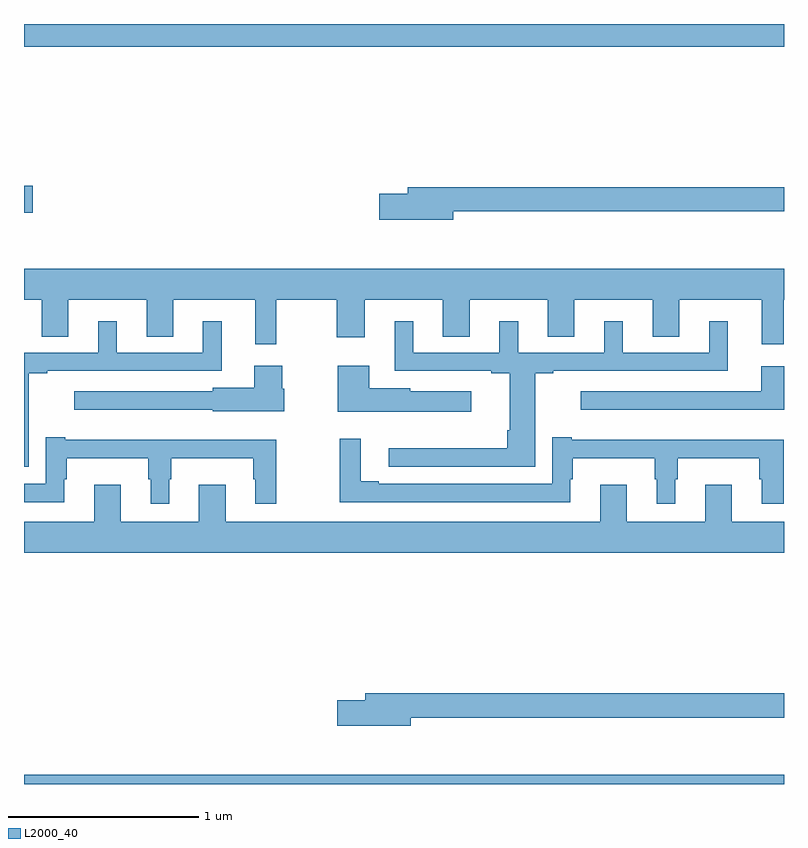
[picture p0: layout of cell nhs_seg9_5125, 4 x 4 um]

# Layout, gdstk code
import gdstk
lib = gdstk.Library(unit=1e-6, precision=1e-09)
def R(c, l, rs):  # rectangles x0, y0, x1, y1
    for r in rs: c.add(gdstk.rectangle(r[:2], r[2:], *l))
def P(c, l, *ps):  # polygons
    for p in ps: c.add(gdstk.Polygon(p, *l))
L2000_40 = (2000, 40)

nhs_seg9_5125 = lib.new_cell('nhs_seg9_5125')
R(nhs_seg9_5125, L2000_40, [(407,1232.5,411,1232.548), (407,1235.506,407.047,1235.648), (407,1236.38,411,1236.5)])
P(nhs_seg9_5125, L2000_40, [(409.258,1235.514),(411,1235.514),(411,1235.642),(409.019,1235.642),(409.019,1235.606),(408.87,1235.606),(408.87,1235.471),(409.258,1235.471)],
  [(408.328,1235.048),(408.646,1235.048),(408.646,1234.851),(408.793,1234.851),(408.793,1235.048),(409.205,1235.048),(409.205,1234.855),(409.345,1234.855),(409.345,1235.048),(409.757,1235.048),(409.757,1234.855),(409.897,1234.855),(409.897,1235.048),(410.309,1235.048),(410.309,1234.855),(410.449,1234.855),(410.449,1235.048),(410.882,1235.048),(410.882,1234.815),(410.999,1234.815),(410.999,1235.048),(411,1235.048),(411,1235.212),(407,1235.212),(407,1235.048),(407.093,1235.048),(407.093,1234.855),(407.233,1234.855),(407.233,1235.048),(407.645,1235.048),(407.645,1234.855),(407.785,1234.855),(407.785,1235.048),(408.218,1235.048),(408.218,1234.815),(408.328,1234.815)],
  [(407.026,1234.662),(407.122,1234.662),(407.122,1234.674),(408.041,1234.674),(408.041,1234.936),(407.942,1234.936),(407.942,1234.77),(407.488,1234.77),(407.488,1234.936),(407.39,1234.936),(407.39,1234.77),(407,1234.77),(407,1234.17),(407.026,1234.17)],
  [(409.69,1234.662),(409.786,1234.662),(409.786,1234.674),(410.705,1234.674),(410.705,1234.936),(410.606,1234.936),(410.606,1234.77),(410.152,1234.77),(410.152,1234.936),(410.054,1234.936),(410.054,1234.77),(409.6,1234.77),(409.6,1234.936),(409.502,1234.936),(409.502,1234.77),(409.048,1234.77),(409.048,1234.936),(408.95,1234.936),(408.95,1234.674),(409.46,1234.674),(409.46,1234.662),(409.556,1234.662),(409.556,1234.363),(409.544,1234.363),(409.544,1234.268),(408.921,1234.268),(408.921,1234.17),(409.69,1234.17)],
  [(409.354,1234.567),(409.032,1234.567),(409.032,1234.582),(408.817,1234.582),(408.817,1234.702),(408.65,1234.702),(408.65,1234.46),(409.354,1234.46)],
  [(408.37,1234.581),(408.358,1234.581),(408.358,1234.702),(408.212,1234.702),(408.212,1234.585),(407.994,1234.585),(407.994,1234.566),(407.265,1234.566),(407.265,1234.469),(407.994,1234.469),(407.994,1234.463),(408.37,1234.463)],
  [(411,1234.699),(410.879,1234.699),(410.879,1234.566),(409.929,1234.566),(409.929,1234.469),(411,1234.469)],
  [(407.764,1234.103),(407.776,1234.103),(407.776,1234.214),(408.207,1234.214),(408.207,1234.103),(408.218,1234.103),(408.218,1233.975),(408.328,1233.975),(408.328,1234.312),(407.218,1234.312),(407.218,1234.324),(407.115,1234.324),(407.115,1234.08),(407,1234.08),(407,1233.984),(407.212,1233.984),(407.212,1234.103),(407.224,1234.103),(407.224,1234.214),(407.655,1234.214),(407.655,1234.103),(407.666,1234.103),(407.666,1233.975),(407.764,1233.975)],
  [(410.428,1234.103),(410.44,1234.103),(410.44,1234.214),(410.871,1234.214),(410.871,1234.103),(410.882,1234.103),(410.882,1233.975),(410.999,1233.975),(410.999,1234.312),(409.882,1234.312),(409.882,1234.324),(409.779,1234.324),(409.779,1234.08),(408.868,1234.08),(408.868,1234.093),(408.772,1234.093),(408.772,1234.318),(408.663,1234.318),(408.663,1233.984),(409.876,1233.984),(409.876,1234.103),(409.888,1234.103),(409.888,1234.214),(410.319,1234.214),(410.319,1234.103),(410.33,1234.103),(410.33,1233.975),(410.428,1233.975)],
  [(411,1233.88),(410.725,1233.88),(410.725,1234.075),(410.585,1234.075),(410.585,1233.88),(410.173,1233.88),(410.173,1234.075),(410.033,1234.075),(410.033,1233.88),(408.061,1233.88),(408.061,1234.075),(407.921,1234.075),(407.921,1233.88),(407.509,1233.88),(407.509,1234.075),(407.369,1234.075),(407.369,1233.88),(407,1233.88),(407,1233.716),(411,1233.716)],
  [(409.036,1232.85),(411,1232.85),(411,1232.978),(408.797,1232.978),(408.797,1232.942),(408.648,1232.942),(408.648,1232.807),(409.036,1232.807)])

lib.write_gds('nhs_seg9_5125.gds')
